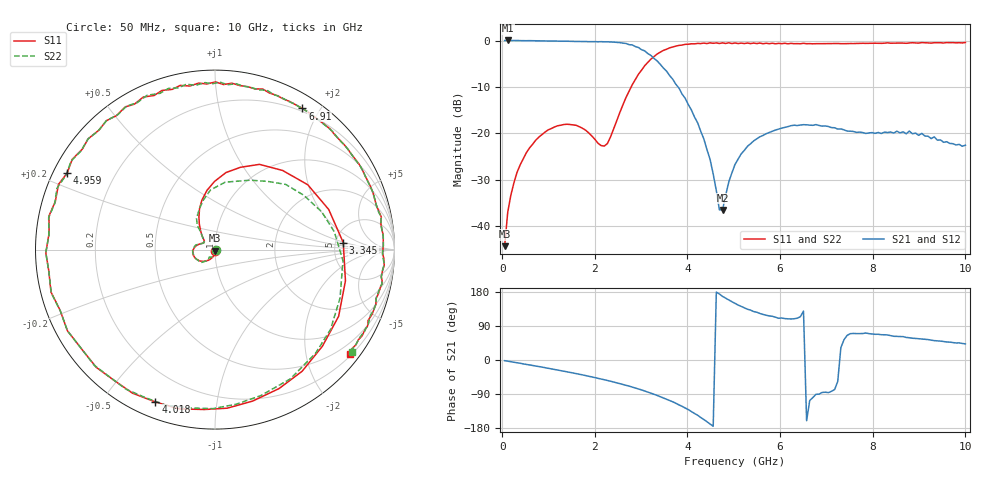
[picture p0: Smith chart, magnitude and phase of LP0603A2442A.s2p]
!	AVX THIN FILM OPERATION
!	LP0603 LOW PASS FILTERS
!	P/N LP0603A2442ALTR
!	Network	Analyzer	HP8720ES.07.64:	Feb	"23,"	2000	Serial	No.	US39172382
!	Hewlett-Packard
!	2	Feb	2004	02:33:11
!	Frequency	S11	S21	S12	S22
#	HZ	S	DB	R	50
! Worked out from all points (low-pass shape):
!   149 points, 50 MHz to 10 GHz, reference 50 ohm
!   highest |S21| = 0.01 dB at 117.2 MHz (marker M1); lowest = -36.5 dB at 4.758 GHz (marker M2)
!   |S21| within 3 dB of the highest: start of sweep to 3.173 GHz
!   lowest |S11| = -44.3 dB at 50 MHz (marker M3), VSWR 1.01, Z = 50.2 - j0.585 ohm
!   |S11| at or under -10 dB: start of sweep to 2.784 GHz
!   |S22| runs from -44.3 to -0.4 dB; largest |S21 - S12| = 0.041
!   S11 on the Smith chart (normalised r, x): 50 MHz: 1.00, -0.01; 3.345 GHz: 5.88, +0.94; 4.018 GHz: 0.07, -0.68; 4.959 GHz: 0.04, +0.24; 6.91 GHz: 0.16, +1.78; 10 GHz: 0.23, -2.91
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5e7  -44.34 -73.8  0.00 -1.8  0.00 -1.5  -44.34 -2.3
1.1725e8  -37.04 -84.4  0.01 -3.0  0.01 -3.0  -37.04 -93.8
3.19e8  -28.41 -104.1  -0.01 -7.3  -0.01 -7.3  -28.41 -106.3
7.225e8  -21.49 -130.2  -0.06 -15.9  -0.06 -16.0  -21.49 -129.9
1.73125e9  -18.91 172.9  -0.23 -39.3  -0.23 -39.2  -18.91 168.9
2.26925e9  -22.23 140.4  -0.28 -54.0  -0.28 -54.6  -22.23 142.5
2.80725e9  -9.54 97.6  -0.94 -71.4  -0.94 -72.0  -9.54 94.3
3.1435e9  -4.73 49.5  -2.81 -84.6  -2.81 -84.8  -4.73 31.4
3.34525e9  -2.90 3.1  -4.40 -93.5  -4.40 -93.6  -2.90 -4.9
3.4125e9  -2.53 -13.4  -5.13 -96.8  -5.13 -96.9  -2.53 -21.2
3.6815e9  -1.39 -65.2  -8.34 -110.3  -8.34 -111.2  -1.39 -72.6
4.01775e9  -0.80 -111.3  -13.80 -130.8  -13.80 -132.8  -0.80 -115.3
4.354e9  -0.55 -151.2  -21.23 -157.1  -21.23 -159.2  -0.55 -151.1
4.7575e9  -0.50 168.5  -36.52 167.9  -36.52 163.5  -0.50 169.1
4.95925e9  -0.65 152.7  -28.55 153.8  -28.55 152.4  -0.65 153.4
5.0265e9  -0.53 147.7  -26.72 149.3  -26.72 148.7  -0.53 148.4
5.699e9  -0.59 108.4  -20.09 118.1  -20.09 119.9  -0.59 106.1
6.506e9  -0.60 73.4  -18.14 129.0  -18.14 125.5  -0.60 71.9
6.70775e9  -0.71 65.6  -18.28 -99.1  -18.28 -95.4  -0.71 64.0
6.9095e9  -0.68 58.2  -18.45 -85.5  -18.45 -95.1  -0.68 56.4
8.389e9  -0.58 9.2  -19.73 64.2  -19.73 62.2  -0.58 8.8
1.0003e10  -0.42 -37.7  -22.56 42.6  -22.56 39.1  -0.42 -36.9
